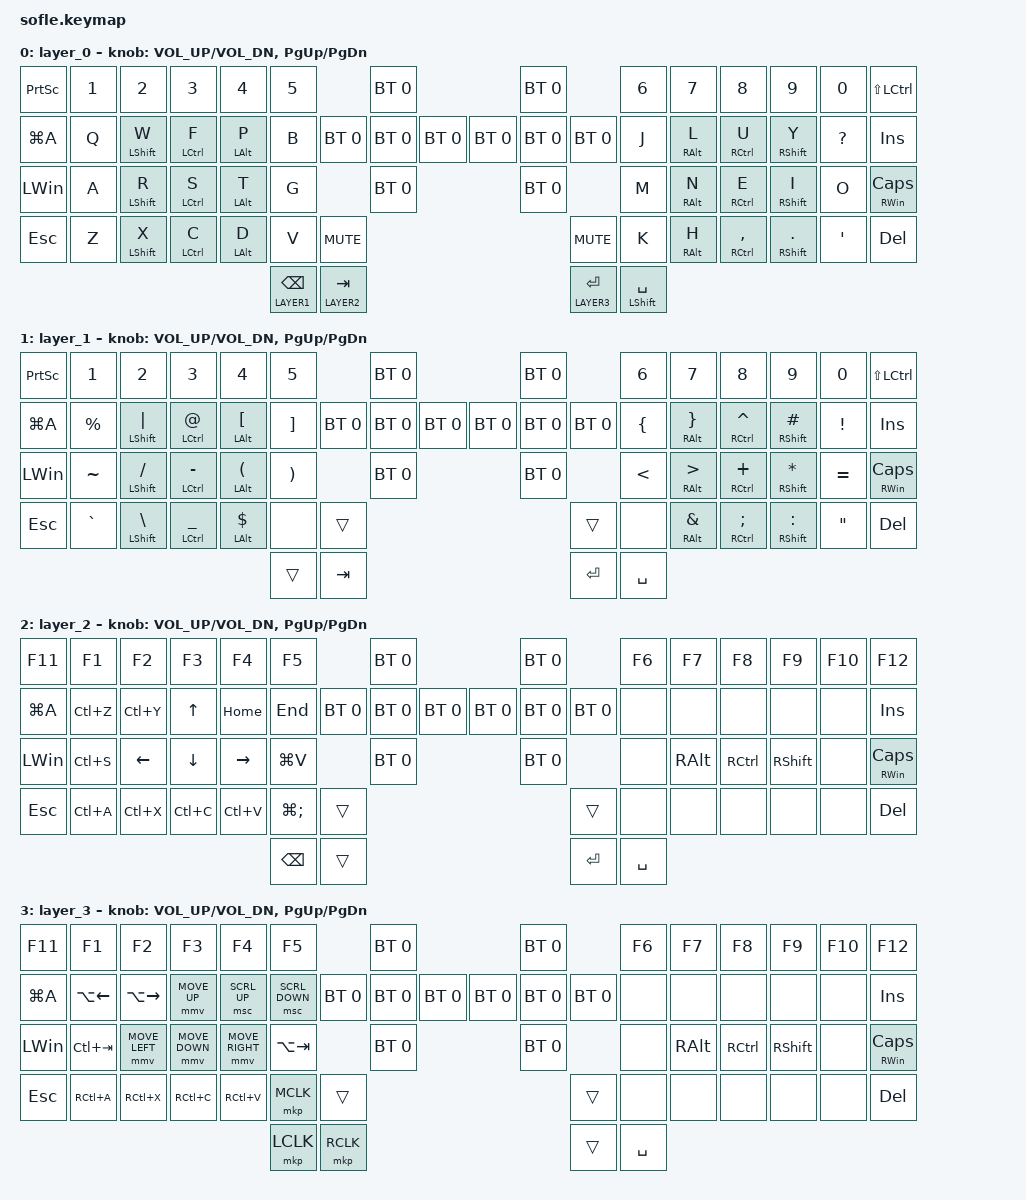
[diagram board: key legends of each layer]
#include <behaviors.dtsi>
#include <dt-bindings/zmk/keys.h>
#include <dt-bindings/zmk/bt.h>
#include <dt-bindings/zmk/rgb.h>
#include <dt-bindings/zmk/ext_power.h>
#include <dt-bindings/zmk/mouse.h>
#include <behaviors/mouse_keys.dtsi>
#include <dt-bindings/zmk/outputs.h>

#define LAYER0 0
#define LAYER1 1
#define LAYER2 2
#define LAYER3 3

&mmv {
  acceleration-exponent = <1>;      // 1
  time-to-max-speed-ms = <500>;    // 40
  delay-ms = <0>;                   // 0
};
&msc {
  acceleration-exponent = <1>;      // 0
  time-to-max-speed-ms = <40>;      // 500
  delay-ms = <0>;                   // 10
};

&lt {
    tapping-term-ms = <200>;
    quick-tap-ms = <200>;
};
&mt {
    tapping-term-ms = <400>;
    quick-tap-ms = <200>;
};

/ {
    keymap {
        compatible = "zmk,keymap";
        layer_0 {
            bindings = <
&kp PSCRN         &kp N1  &kp N2          &kp N3       &kp N4          &kp N5                             &bt BT_SEL 0                                   &bt BT_SEL 0                     &kp N6             &kp N7           &kp N8            &kp N9             &kp N0       &kp LS(LCTRL) 
&kp LG(A)         &kp Q   &mt LSHFT W     &mt LCTRL F  &mt LALT P      &kp B                 &bt BT_SEL 0 &bt BT_SEL 0 &bt BT_SEL 0         &bt BT_SEL 0 &bt BT_SEL 0  &bt BT_SEL 0       &kp J              &mt RALT L       &mt RCTRL U       &mt RSHFT Y        &kp QMARK    &kp INS
&kp LWIN          &kp A   &mt LSHFT R     &mt LCTRL S  &mt LALT T      &kp G                              &bt BT_SEL 0                                   &bt BT_SEL 0                     &kp M              &mt RALT N       &mt RCTRL E       &mt RSHFT I        &kp O        &mt RWIN CLCK
&kp ESC           &kp Z   &mt LSHFT X     &mt LCTRL C  &mt LALT D      &kp V                 &kp C_MUTE                                                                &kp C_MUTE         &kp K              &mt RALT H       &mt RCTRL COMMA   &mt RSHFT DOT      &kp SQT      &kp DEL
                                                                       &lt LAYER1 BACKSPACE  &lt LAYER2 TAB                                                            &lt LAYER3 ENTER   &mt LSHFT SPACE 
            >;
            sensor-bindings = <&inc_dec_kp C_VOL_UP C_VOL_DN &inc_dec_kp PG_UP PG_DN>;
        };

        layer_1 {
            bindings = <
&kp PSCRN       &kp N1      &kp N2             &kp N3            &kp N4             &kp N5                      &bt BT_SEL 0                                   &bt BT_SEL 0                    &kp N6     &kp N7            &kp N8             &kp N9                &kp N0        &kp LS(LCTRL) 
&kp LG(A)       &kp PRCNT   &mt LSHFT PIPE     &mt LCTRL AT      &mt LALT LBKT      &kp RBKT       &bt BT_SEL 0 &bt BT_SEL 0 &bt BT_SEL 0         &bt BT_SEL 0 &bt BT_SEL 0  &bt BT_SEL 0      &kp LBRC   &mt RALT RBRC     &mt RCTRL CARET    &mt RSHFT POUND       &kp EXCL      &kp INS
&kp LWIN        &kp TILDE   &mt LSHFT FSLH     &mt LCTRL MINUS   &mt LALT LPAR      &kp RPAR                    &bt BT_SEL 0                                   &bt BT_SEL 0                    &kp LT     &mt RALT GT       &mt RCTRL PLUS     &mt RSHFT STAR        &kp EQUAL     &mt RWIN CLCK
&kp ESC         &kp GRAVE   &mt LSHFT BSLH     &mt LCTRL UNDER   &mt LALT DLLR      &none          &trans                                                                        &trans        &none      &mt RALT AMPS     &mt RCTRL SEMI     &mt RSHFT COLON       &kp DQT       &kp DEL
                                                                                    &trans         &kp TAB                                                                       &kp ENTER     &kp SPACE  
            >;
            sensor-bindings = <&inc_dec_kp C_VOL_UP C_VOL_DN &inc_dec_kp PG_UP PG_DN>;
        };

        layer_2 {
            bindings = <
&kp F11      &kp F1      &kp F2        &kp F3      &kp F4      &kp F5                      &bt BT_SEL 0                                   &bt BT_SEL 0                  &kp F6     &kp F7          &kp F8      &kp F9      &kp F10    &kp F12
&kp LG(A)    &kp LC(Z)   &kp LC(Y)     &kp UP      &kp HOME    &kp END        &bt BT_SEL 0 &bt BT_SEL 0 &bt BT_SEL 0         &bt BT_SEL 0 &bt BT_SEL 0  &bt BT_SEL 0    &none      &none           &none       &none       &none      &kp INS
&kp LWIN     &kp LC(S)   &kp LEFT      &kp DOWN    &kp RIGHT   &kp LG(V)                   &bt BT_SEL 0                                   &bt BT_SEL 0                  &none      &kp RALT        &kp RCTRL   &kp RSHFT   &none      &mt RWIN CLCK
&kp ESC      &kp LC(A)   &kp LC(X)     &kp LC(C)   &kp LC(V)   &kp LG(SEMI)   &trans                                                                    &trans          &none      &none           &none       &none       &none      &kp DEL
                                                               &kp BACKSPACE  &trans                                                                    &kp ENTER       &kp SPACE 
            >;
            sensor-bindings = <&inc_dec_kp C_VOL_UP C_VOL_DN &inc_dec_kp PG_UP PG_DN>;
        };

        layer_3 {
            bindings = <
&kp F11    &kp F1         &kp F2          &kp F3          &kp F4           &kp F5                          &bt BT_SEL 0                                   &bt BT_SEL 0                 &kp F6      &kp F7      &kp F8      &kp F9     &kp F10   &kp F12
&kp LG(A)  &kp LA(LEFT)   &kp LA(RIGHT)   &mmv MOVE_UP    &msc SCRL_UP     &msc SCRL_DOWN     &bt BT_SEL 0 &bt BT_SEL 0 &bt BT_SEL 0         &bt BT_SEL 0 &bt BT_SEL 0  &bt BT_SEL 0   &none       &none       &none       &none      &none     &kp INS
&kp LWIN   &kp LC(TAB)    &mmv MOVE_LEFT  &mmv MOVE_DOWN  &mmv MOVE_RIGHT  &kp LA(TAB)                     &bt BT_SEL 0                                   &bt BT_SEL 0                 &none       &kp RALT    &kp RCTRL   &kp RSHFT  &none     &mt RWIN CLCK
&kp ESC    &kp RC(A)      &kp RC(X)       &kp RC(C)       &kp RC(V)        &mkp MCLK          &trans                                                                    &trans         &none       &none       &none       &none      &none     &kp DEL
                                                                           &mkp LCLK          &mkp RCLK                                                                 &trans         &kp SPACE 
            >;
            sensor-bindings = <&inc_dec_kp C_VOL_UP C_VOL_DN &inc_dec_kp PG_UP PG_DN>;
        };

    };
};
